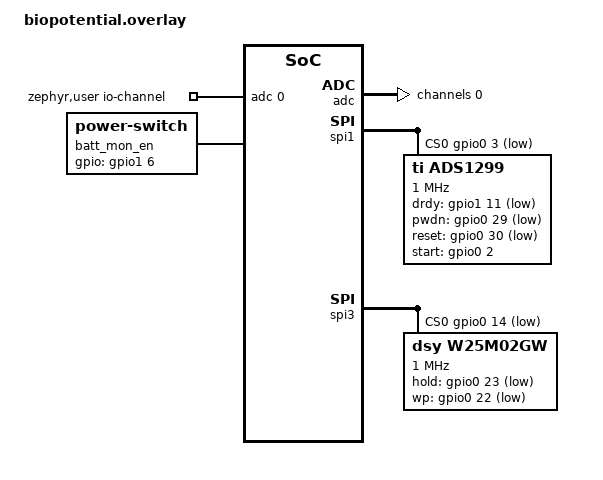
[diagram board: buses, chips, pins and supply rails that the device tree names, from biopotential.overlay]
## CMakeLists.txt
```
cmake_minimum_required(VERSION 3.20.0)
list(APPEND ZEPHYR_EXTRA_MODULES
  ${CMAKE_CURRENT_SOURCE_DIR}/drivers/max30003
  ${CMAKE_CURRENT_SOURCE_DIR}/drivers/max86141
  ${CMAKE_CURRENT_SOURCE_DIR}/drivers/ads1299
  ${CMAKE_CURRENT_SOURCE_DIR}/drivers/W25M02GW
  ${CMAKE_CURRENT_SOURCE_DIR}/drivers/afe4960
  ${CMAKE_CURRENT_SOURCE_DIR}/drivers/max30001
  # ${CMAKE_CURRENT_BINARY_DIR}/zephyr/include/generated/syscalls

  # ${CMAKE_CURRENT_SOURCE_DIR}/lib/tflite-micro
  
)


find_package(Zephyr REQUIRED HINTS $ENV{ZEPHYR_BASE})

project(Wearable)
# target_link_libraries(app PUBLIC tensorflow_lite_micro)
set(NO_THREADSAFE_STATICS $<TARGET_PROPERTY:compiler-cpp,no_threadsafe_statics>)
zephyr_compile_options($<$<COMPILE_LANGUAGE:CXX>:${NO_THREADSAFE_STATICS}>)


add_subdirectory(src/ble)
add_subdirectory(src/sensors)


file(GLOB SRC_FILES "src/*.c")

target_sources(app PRIVATE ${SRC_FILES})

target_include_directories(app PRIVATE
    ${CMAKE_CURRENT_SOURCE_DIR}/src
    ${CMAKE_CURRENT_SOURCE_DIR}/src/ble
    ${CMAKE_CURRENT_SOURCE_DIR}/src/sensors
)
```

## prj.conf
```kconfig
# Boot Loader Configuration
CONFIG_BOOTLOADER_MCUBOOT=y
CONFIG_NCS_SAMPLE_MCUMGR_BT_OTA_DFU=y


# Driver Configuration
CONFIG_GPIO=y
CONFIG_SPI=y
CONFIG_ADC=y
CONFIG_APPLICATION_DEFINED_SYSCALL=y

# Logging Configuration
CONFIG_LOG=y
CONFIG_LOG_MODE_DEFERRED=y
CONFIG_LOG_PROCESS_THREAD=y
CONFIG_LOG_PROCESS_THREAD_PRIORITY=7

CONFIG_UART_CONSOLE=n
CONFIG_CONSOLE=y
CONFIG_CONSOLE=y
CONFIG_USE_SEGGER_RTT=y
CONFIG_RTT_CONSOLE=y
CONFIG_LOG_BUFFER_SIZE=4096
CONFIG_SEGGER_RTT_BUFFER_SIZE_UP=4096
CONFIG_SEGGER_RTT_BUFFER_SIZE_DOWN=4096



# Bluetooth LE Configuration
CONFIG_BT=y
CONFIG_BT_PERIPHERAL=y
# CONFIG_BT_DEVICE_NAME="EEGV2"
CONFIG_BT_DEVICE_NAME="NI_ECG_60"
# CONFIG_BT_DEVICE_NAME="DK"
CONFIG_BT_CTLR=y
CONFIG_BT_CTLR_TX_PWR_PLUS_8=y
CONFIG_BT_LL_SW_SPLIT=y

CONFIG_BT_L2CAP_TX_MTU=247
CONFIG_BT_CTLR_DATA_LENGTH_MAX=251
CONFIG_BT_BUF_ACL_RX_SIZE=251
CONFIG_BT_BUF_ACL_RX_COUNT=8
CONFIG_BT_BUF_ACL_TX_SIZE=251
CONFIG_BT_BUF_ACL_TX_COUNT=8
CONFIG_BT_BUF_CMD_TX_COUNT=8
CONFIG_BT_PERIPHERAL_PREF_MIN_INT=6
CONFIG_BT_PERIPHERAL_PREF_MAX_INT=6
CONFIG_BT_PERIPHERAL_PREF_LATENCY=0
CONFIG_BT_PERIPHERAL_PREF_TIMEOUT=200
CONFIG_BT_RX_STACK_SIZE=4096
CONFIG_BT_CTLR_PHY_2M=y
CONFIG_BT_GATT_CLIENT=y

# System Configuration
CONFIG_SYSTEM_WORKQUEUE_STACK_SIZE=8196
CONFIG_MAIN_STACK_SIZE=8196
CONFIG_NET_TX_STACK_SIZE=2048

CONFIG_CPU_LOAD=y
CONFIG_CPU_LOAD_LOG_INTERVAL=2000
CONFIG_CPU_LOAD_LOG_PERIODIC=y
CONFIG_THREAD_STACK_INFO=y
CONFIG_THREAD_ANALYZER=y
CONFIG_THREAD_ANALYZER_AUTO=y
CONFIG_THREAD_ANALYZER_RUN_UNLOCKED=y




# Board Config
# CONFIG_ADS1299=y
# CONFIG_ADS1299_SAMPLE_RATE=500
CONFIG_MAX30001=y
CONFIG_MAX30001_ECG=y
CONFIG_MAX30001_BIOZ=n
# CONFIG_MAX30003=y
CONFIG_W25M02GW=y
# CONFIG_CLOCK_CONTROL_NRF_K32SRC_RC=y




#Testing tflite
# Enable TensorFlow Lite Micro
CONFIG_CPP=y
CONFIG_STD_CPP17=y
CONFIG_TENSORFLOW_LITE_MICRO=y
CONFIG_REQUIRES_FLOAT_PRINTF=y


# Enable logging for TensorFlow Lite Micro (optional)
# CONFIG_TENSORFLOW_LITE_MICRO_LOG_LEVEL_DBG=y


# Configure SoC Flash
CONFIG_FLASH=y
CONFIG_MPU_ALLOW_FLASH_WRITE=y
CONFIG_SOC_FLASH_NRF_EMULATE_ONE_BYTE_WRITE_ACCESS=y
CONFIG_FCB=y
CONFIG_FLASH_MAP=y
CONFIG_SETTINGS=y
CONFIG_SETTINGS_FCB=y

# CONFIG_CLOCK_CONTROL_NRF_K32SRC_RC=y
```

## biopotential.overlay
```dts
// biopotential.overlay
/ {
    zephyr,user {
        io-channels = <&adc 0>;
    };

	batt_mon_en: batt_mon_en {
		compatible = "power-switch";
        status = "okay";
		gpios= <&gpio1 6 GPIO_ACTIVE_HIGH>;
	};


};


&adc {
	#address-cells = <1>;
	#size-cells = <0>;
	status = "okay";
	channel@0 {
		reg = <0>;
		zephyr,gain = "ADC_GAIN_1_6";
		zephyr,reference = "ADC_REF_INTERNAL";
		zephyr,acquisition-time = <ADC_ACQ_TIME_DEFAULT>;
		zephyr,input-positive = <NRF_SAADC_AIN2>; /* P0.02 for nRF52xx, P0.04 for nRF5340 */
		zephyr,resolution = <12>;
	};
};


&i2c0 {	status = "disabled";};
&i2c1 {	status = "disabled";};
&gpio1{
	status = "okay";
};


	
&spi1 {
    compatible = "nordic,nrf-spim";
	status = "okay";
	pinctrl-names = "default", "sleep";
	cs-gpios = <&gpio0 3 GPIO_ACTIVE_LOW>;
	ads1299: ads1299@0 {
		compatible = "ti,ads1299";
		reg = <0>;
		spi-max-frequency = <1000000>; 
        drdy-gpios = <&gpio1 11 GPIO_ACTIVE_LOW>;
        pwdn-gpios = <&gpio0 29 GPIO_ACTIVE_LOW>;
        reset-gpios = <&gpio0 30 GPIO_ACTIVE_LOW>;
        start-gpios = <&gpio0 2 GPIO_ACTIVE_HIGH>;
	};


};

&spi3 {
    compatible = "nordic,nrf-spim";
    status = "okay";
    pinctrl-names = "default", "sleep";
    cs-gpios = <&gpio0 14 GPIO_ACTIVE_LOW>;
    w25m02gw: w25m02gw@0 {
        compatible = "dsy,w25m02gw";
        reg = <0>;
        spi-max-frequency = <1000000>;
        hold-gpios = <&gpio0 23 GPIO_ACTIVE_LOW>;
        wp-gpios = <&gpio0 22 GPIO_ACTIVE_LOW>;
    };
};







&spi1_default {
    group1 {
        psels = <NRF_PSEL(SPIM_SCK, 0, 5)>,
                <NRF_PSEL(SPIM_MOSI, 0, 28)>,
                <NRF_PSEL(SPIM_MISO, 0, 8)>;
    };
};


&uart0 {
    status = "disabled";
};


&spi3_default {
    group1 {
        psels = <NRF_PSEL(SPIM_SCK, 0, 19)>,
                <NRF_PSEL(SPIM_MISO, 0, 21)>,
                <NRF_PSEL(SPIM_MOSI, 0, 20)>;
    };
};
```

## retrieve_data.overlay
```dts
// ECG OVERLAY
&pinctrl {
    spi0_default: spi0_default {
		group1 {
			psels = <NRF_PSEL(SPIM_SCK, 1, 8)>,
				<NRF_PSEL(SPIM_MOSI, 1, 9)>,
				<NRF_PSEL(SPIM_MISO, 0, 11)>;
		};
	};

	spi0_sleep: spi0_sleep {
		group1 {
			psels = <NRF_PSEL(SPIM_SCK, 1, 8)>,
				<NRF_PSEL(SPIM_MOSI, 1, 9)>,
				<NRF_PSEL(SPIM_MISO, 0, 11)>;
			low-power-enable;
		};
	};


    spi1_default: spi1_default {
        group1 {
            psels = <NRF_PSEL(SPIM_SCK, 0, 19)>,
                <NRF_PSEL(SPIM_MOSI, 0, 20)>,
                <NRF_PSEL(SPIM_MISO, 0, 21)>;
        };
    };


    spi1_sleep: spi1_sleep {
        group1 {
            psels = <NRF_PSEL(SPIM_SCK, 0, 19)>,
                <NRF_PSEL(SPIM_MOSI, 0, 20)>,
                <NRF_PSEL(SPIM_MISO, 0, 21)>;
        };
    };
};

&spi0 {
	status = "okay";
	pinctrl-names = "default", "sleep";
	cs-gpios = <&gpio0 8 GPIO_ACTIVE_LOW>;
	pinctrl-0 = <&spi0_default>;
	pinctrl-1 = <&spi0_sleep>;
    max30001: max30001@0 {
        compatible = "maxim,max30001";
        reg = <0>;
        spi-max-frequency = <1000000>;
        int1-gpios = <&gpio0 7 GPIO_ACTIVE_LOW>;
        int2-gpios = <&gpio0 12 GPIO_ACTIVE_LOW>;
    };
};


&spi1 {
	status = "okay";
	pinctrl-names = "default", "sleep";
	cs-gpios = <&gpio0 17 GPIO_ACTIVE_LOW>;
	pinctrl-0 = <&spi1_default>;
	pinctrl-1 = <&spi1_sleep>;
    w25m02gw: w25m02gw@0 {
        compatible = "dsy,w25m02gw";
        reg = <0>;
        spi-max-frequency = <1000000>;
        hold-gpios = <&gpio0 23 GPIO_ACTIVE_LOW>;
        wp-gpios = <&gpio0 22 GPIO_ACTIVE_LOW>;
    };
};
```

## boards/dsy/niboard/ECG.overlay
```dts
// ECG OVERLAY
&pinctrl {
    spi0_default: spi0_default {
		group1 {
			psels = <NRF_PSEL(SPIM_SCK, 1, 8)>,
				<NRF_PSEL(SPIM_MOSI, 1, 9)>,
				<NRF_PSEL(SPIM_MISO, 0, 11)>;
		};
	};

	spi0_sleep: spi0_sleep {
		group1 {
			psels = <NRF_PSEL(SPIM_SCK, 1, 8)>,
				<NRF_PSEL(SPIM_MOSI, 1, 9)>,
				<NRF_PSEL(SPIM_MISO, 0, 11)>;
			low-power-enable;
		};
	};


    spi1_default: spi1_default {
        group1 {
            psels = <NRF_PSEL(SPIM_SCK, 0, 24)>,
                <NRF_PSEL(SPIM_MOSI, 0, 23)>,
                <NRF_PSEL(SPIM_MISO, 0, 21)>;
        };
    };


    spi1_sleep: spi1_sleep {
        group1 {
            psels = <NRF_PSEL(SPIM_SCK, 0, 24)>,
                <NRF_PSEL(SPIM_MOSI, 0, 23)>,
                <NRF_PSEL(SPIM_MISO, 0, 21)>;
            low-power-enable;
        };
    };
};

&spi0 {
	status = "okay";
	pinctrl-names = "default", "sleep";
	cs-gpios = <&gpio0 8 GPIO_ACTIVE_LOW>;
	pinctrl-0 = <&spi0_default>;
	pinctrl-1 = <&spi0_sleep>;
    max30001: max30001@0 {
        compatible = "maxim,max30001";
        reg = <0>;
        spi-max-frequency = <1000000>;
        int1-gpios = <&gpio0 7 GPIO_ACTIVE_LOW>;
        int2-gpios = <&gpio0 12 GPIO_ACTIVE_LOW>;
    };
};


&spi1 {
	status = "okay";
	pinctrl-names = "default", "sleep";
	cs-gpios = <&gpio0 22 GPIO_ACTIVE_LOW>;
	pinctrl-0 = <&spi1_default>;
	pinctrl-1 = <&spi1_sleep>;
    w25m02gw: w25m02gw@0 {
        compatible = "dsy,w25m02gw";
        reg = <0>;
        spi-max-frequency = <1000000>;
        hold-gpios = <&gpio1 0 GPIO_ACTIVE_LOW>;
        wp-gpios = <&gpio0 20 GPIO_ACTIVE_LOW>;
    };
};
```

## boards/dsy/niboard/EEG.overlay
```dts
&pinctrl {
    spi0_default: spi0_default {
		group1 {
			psels = <NRF_PSEL(SPIM_SCK, 0, 7)>,
				<NRF_PSEL(SPIM_MOSI, 0, 12)>,
				<NRF_PSEL(SPIM_MISO, 0, 5)>;
		};
	};

	spi0_sleep: spi0_sleep {
		group1 {
			psels = <NRF_PSEL(SPIM_SCK, 0, 7)>,
				<NRF_PSEL(SPIM_MOSI, 0, 12)>,
				<NRF_PSEL(SPIM_MISO, 0, 5)>;
			low-power-enable;
		};
	};


    spi1_default: spi1_default {
        group1 {
            psels = <NRF_PSEL(SPIM_SCK, 0, 24)>,
                <NRF_PSEL(SPIM_MOSI, 0, 23)>,
                <NRF_PSEL(SPIM_MISO, 0, 21)>;
        };
    };


    spi1_sleep: spi1_sleep {
        group1 {
            psels = <NRF_PSEL(SPIM_SCK, 0, 24)>,
                <NRF_PSEL(SPIM_MOSI, 0, 23)>,
                <NRF_PSEL(SPIM_MISO, 0, 21)>;
            low-power-enable;
        };
    };
};


&spi0 {
	status = "okay";
	pinctrl-names = "default", "sleep";
	cs-gpios = <&gpio0 8 GPIO_ACTIVE_LOW>;
	pinctrl-0 = <&spi0_default>;
	pinctrl-1 = <&spi0_sleep>;
	ads1299: ads1299@0 {
		compatible = "ti,ads1299";
		reg = <0>;
		spi-max-frequency = <1000000>;
		drdy-gpios = <&gpio0 4 GPIO_ACTIVE_LOW>;
        pwdn-gpios = <&gpio0 11 GPIO_ACTIVE_LOW>;
        reset-gpios = <&gpio1 9 GPIO_ACTIVE_LOW>;
        start-gpios = <&gpio1 8 GPIO_ACTIVE_HIGH>;
	};
};


&spi1 {
	status = "okay";
	pinctrl-names = "default", "sleep";
	cs-gpios = <&gpio0 22 GPIO_ACTIVE_LOW>;
	pinctrl-0 = <&spi1_default>;
	pinctrl-1 = <&spi1_sleep>;
    w25m02gw: w25m02gw@0 {
        compatible = "dsy,w25m02gw";
        reg = <0>;
        spi-max-frequency = <1000000>;
        hold-gpios = <&gpio1 0 GPIO_ACTIVE_LOW>;
        wp-gpios = <&gpio0 20 GPIO_ACTIVE_LOW>;
    };
};
```

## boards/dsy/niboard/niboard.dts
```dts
/dts-v1/;
#include <nordic/nrf52840_qfaa.dtsi>


/ {
	model = "Custom Board auto generated by nRF Connect for VS Code";
	compatible = "dsy,niboard";

	chosen {
		zephyr,sram = &sram0;
		zephyr,flash = &flash0;
		zephyr,code-partition = &slot0_partition;
	};
	zephyr,user {
        io-channels = <&adc 0>;
    };

	batt_mon_en: batt_mon_en {
		compatible = "power-switch";
        status = "okay";
		gpios= <&gpio1 15 GPIO_ACTIVE_HIGH>;
	};
};

&flash0 {
	partitions {
		compatible = "fixed-partitions";
		#address-cells = <1>;
		#size-cells = <1>;

		boot_partition: partition@0 {
			label = "mcuboot";
			reg = <0x00000000 DT_SIZE_K(48)>;
		};

		slot0_partition: partition@c000 {
			label = "image-0";
			reg = <0x0000c000 DT_SIZE_K(472)>;
		};

		slot1_partition: partition@82000 {
			label = "image-1";
			reg = <0x00082000 DT_SIZE_K(472)>;
		};

		storage_partition: partition@f8000 {
			label = "storage";
			reg = <0x000f8000 DT_SIZE_K(32)>;
		};
	};
};

&adc {
	#address-cells = <1>;
	#size-cells = <0>;
	status = "okay";
	channel@0 {
		reg = <0>;
		zephyr,gain = "ADC_GAIN_1_6";
		zephyr,reference = "ADC_REF_INTERNAL";
		zephyr,acquisition-time = <ADC_ACQ_TIME_DEFAULT>;
		zephyr,input-positive = <NRF_SAADC_AIN1>; 
		zephyr,resolution = <12>;
	};
};


&gpiote {
	status = "okay";
};

&gpio0 {
	status = "okay";
};
&gpio1 {
	status = "okay";
};
```

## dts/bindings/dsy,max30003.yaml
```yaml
# Copyright (c) 2023, Nordic Semiconductor
# SPDX-License-Identifier: Apache-2.0

description: MAX30003 ECG and R-R interval monitor

compatible: "dsy,max30003"

include: spi-device.yaml

properties:
  int-gpios:
    type: phandle-array
    required: false
    description: INT interrupt pin
```

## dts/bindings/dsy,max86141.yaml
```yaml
# Copyright (c) 2023, Nordic Semiconductor
# SPDX-License-Identifier: Apache-2.0

description: MAX86141 integrated pulse oximeter and heart rate sensor

compatible: "dsy,max86141"

include: spi-device.yaml

properties:
  int-gpios:
    type: phandle-array
    required: false
    description: INT interrupt pin
```

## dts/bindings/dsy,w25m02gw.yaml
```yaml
# Copyright (c) 2023, Nordic Semiconductor
# SPDX-License-Identifier: Apache-2.0

description: w25n02gw 2G-bit SPI NOR Flash

compatible: "dsy,w25m02gw"

include: spi-device.yaml

properties:
  hold-gpios:
    type: phandle-array
    required: false
    description: hold pin
  wp-gpios:
    type: phandle-array
    required: false
    description: wp pin
```

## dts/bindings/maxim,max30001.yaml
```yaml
# Copyright (c) 2023, Nordic Semiconductor
# SPDX-License-Identifier: Apache-2.0

description: MAX30001 ECG and R-R interval monitor

compatible: "maxim,max30001"

include: spi-device.yaml

properties:
  int1-gpios:
    type: phandle-array
    required: false
    description: INT interrupt pin
  int2-gpios:
    type: phandle-array
    required: false
    description: INT2 interrupt pin
```

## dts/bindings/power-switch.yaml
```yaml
description: GPIO pin to switch a power output on or off

compatible: "power-switch"

properties:
  gpios:
    type: phandle-array
    required: true
    description: |
      The GPIO connected to the gate driver for the MOSFET.
```

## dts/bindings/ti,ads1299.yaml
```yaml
# Copyright (c) 2023, Nordic Semiconductor
# SPDX-License-Identifier: Apache-2.0

description: ADS1299 24-bit, 8-Channel, 32kSPS, Analog-to-Digital Converter

compatible: "ti,ads1299"

include: spi-device.yaml

properties:
  drdy-gpios:
    type: phandle-array
    required: false
    description: INT interrupt pin
  pwdn-gpios:
    type: phandle-array
    required: false
    description: INT interrupt pin
  reset-gpios:
    type: phandle-array
    required: false
    description: INT interrupt pin
  start-gpios:
    type: phandle-array
    required: false
    description: INT interrupt pin
```

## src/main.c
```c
#include <zephyr/kernel.h>

int main(void)
{       
        int counter = 0;
        // printk("This is from DK!\n");
        while(1)
        {
                printk("Counter: %d\n", counter);
                counter++;
                k_sleep(K_MSEC(3000));
        }
        return 0;
}
```

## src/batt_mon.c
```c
// #include <zephyr/kernel.h>
// #include <zephyr/device.h>
// #include <zephyr/devicetree.h>
// #include <zephyr/logging/log.h>
// #include <zephyr/drivers/adc.h>
// #include <zephyr/drivers/gpio.h>

// #include "ble_sensor_control.h"
// #define PRIO 17

// #define MIN_BATTERY_VOLTAGE 385
// #define MAX_BATTERY_VOLTAGE 535
// #define SAMPLE_INTERVAL_MS 10
// #define AVERAGE_INTERVAL_MS 10000

// /* STEP 3.2 - Define a variable of type adc_dt_spec for each channel */
// static const struct adc_dt_spec adc_channel = ADC_DT_SPEC_GET(DT_PATH(zephyr_user));
// static const struct gpio_dt_spec batt_mon_en = GPIO_DT_SPEC_GET(DT_NODELABEL(batt_mon_en), gpios);

// LOG_MODULE_REGISTER(ADC_MON, LOG_LEVEL_DBG);

// int batt_mon() {
//     int err;
//     uint32_t sample_count = 0;
//     int32_t sample_sum = 0;
//     uint32_t sample_time = 0;
// 	uint8_t on_start = 1;
    
//     /* STEP 4.1 - Define a variable of type adc_sequence and a buffer of type uint16_t */
//     int16_t buf;
//     struct adc_sequence sequence = {
//         .buffer = &buf,
//         /* buffer size in bytes, not number of samples */
//         .buffer_size = sizeof(buf),
//     };

//     /* STEP 3.3 - validate that the ADC peripheral (SAADC) is ready */
//     if (!adc_is_ready_dt(&adc_channel)) {
//         LOG_ERR("ADC controller device %s not ready", adc_channel.dev->name);
//         return 0;
//     }

//     if (!gpio_is_ready_dt(&batt_mon_en)) {
//         LOG_ERR("GPIO device %s not ready", batt_mon_en.port->name);
//         return 0;
//     }

//     err = gpio_pin_configure_dt(&batt_mon_en, GPIO_OUTPUT_INACTIVE);

//     /* STEP 3.4 - Setup the ADC channel */
//     err = adc_channel_setup_dt(&adc_channel);
//     if (err < 0) {
//         LOG_ERR("Could not setup channel #%d (%d)", 0, err);
//         return 0;
//     }

//     /* STEP 4.2 - Initialize the ADC sequence */
//     err = adc_sequence_init_dt(&adc_channel, &sequence);
//     if (err < 0) {
//         LOG_ERR("Could not initialize sequence");
//         return 0;
//     }




//     while (1) {
//         int val_mv;

//         err = gpio_pin_set_dt(&batt_mon_en, 1);
//         /* STEP 5 - Read a sample from the ADC */
//         err = adc_read(adc_channel.dev, &sequence);
//         if (err < 0) {
//             LOG_ERR("Could not read (%d)", err);
//             gpio_pin_set_dt(&batt_mon_en, 0);
//             k_sleep(K_MSEC(SAMPLE_INTERVAL_MS));
//             continue;
//         }

//         val_mv = (int)buf;

//         /* STEP 6 - Convert raw value to mV */
//         err = adc_raw_to_millivolts_dt(&adc_channel, &val_mv);
//         if (err < 0) {
//             LOG_WRN(" (value in mV not available)");
//         }

//         gpio_pin_set_dt(&batt_mon_en, 0);
        
//         /* Accumulate samples for averaging */
//         sample_sum += val_mv;
//         sample_count++;
//         sample_time += SAMPLE_INTERVAL_MS;

//         if (sample_time >= AVERAGE_INTERVAL_MS) {
//             int avg_mv = sample_sum / sample_count;
//             uint8_t battery_level = (avg_mv - MIN_BATTERY_VOLTAGE) * 100 / (MAX_BATTERY_VOLTAGE - MIN_BATTERY_VOLTAGE);
//             LOG_INF("Average Battery Level: %d", battery_level);
//             state_set_battery_level(battery_level);

//             /* Reset counters */
//             sample_sum = 0;
//             sample_count = 0;
//             sample_time = 0;
//         }

//         k_sleep(K_MSEC(SAMPLE_INTERVAL_MS));
//     }

//     return 0;
// }

// K_THREAD_DEFINE(batt_mon_t, 1024, batt_mon, NULL, NULL, NULL, PRIO, 0, 0);
```

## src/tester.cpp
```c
#include <tensorflow/lite/micro/micro_log.h>
#include <tensorflow/lite/micro/micro_log.h>
#include <tensorflow/lite/micro/micro_interpreter.h>
#include <tensorflow/lite/micro/system_setup.h>
#include <tensorflow/lite/schema/schema_generated.h>
```
